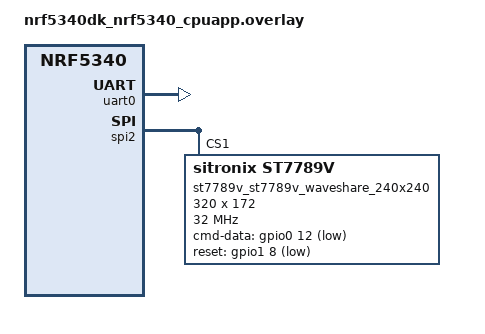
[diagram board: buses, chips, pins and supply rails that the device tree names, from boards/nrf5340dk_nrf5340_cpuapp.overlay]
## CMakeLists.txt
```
cmake_minimum_required(VERSION 3.20.0)

find_package(Zephyr REQUIRED HINTS $ENV{ZEPHYR_BASE})
project(lvgl)

zephyr_include_directories(include)
target_include_directories(app PRIVATE include)

FILE(GLOB app_sources src/*.c src/*.cpp)
target_sources(app PRIVATE ${app_sources})
```

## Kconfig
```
# Copyright (c) 2023 Nordic Semiconductor ASA
# SPDX-License-Identifier: Apache-2.0

menuconfig DISPLAY_CUSTOM
    bool "Custom display driver"

if DISPLAY_CUSTOM
module = DISPLAY_CUSTOM
module-str = DISPLAY_CUSTOM
source "${ZEPHYR_BASE}/subsys/logging/Kconfig.template.log_config"

endif 
```

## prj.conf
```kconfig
CONFIG_LV_Z_MEM_POOL_SIZE=5000
CONFIG_LV_CONF_MINIMAL=y

CONFIG_LVGL=y
CONFIG_LV_MEM_CUSTOM=y
CONFIG_LV_USE_LOG=n
CONFIG_LV_USE_CANVAS=y
CONFIG_LV_COLOR_DEPTH_16=y

CONFIG_LV_COLOR_16_SWAP=y

CONFIG_LV_Z_FULL_REFRESH=n
CONFIG_LV_Z_VDB_ALIGN=4
CONFIG_LV_Z_VDB_SIZE=1
CONFIG_LV_Z_FLUSH_THREAD=n
CONFIG_LV_Z_DOUBLE_VDB=n

CONFIG_LV_IMG_CACHE_DEF_SIZE=0

CONFIG_LV_Z_USE_FILESYSTEM=y

CONFIG_FS_LOG_LEVEL_INF=y

CONFIG_LV_FONT_DEFAULT_MONTSERRAT_48=n
CONFIG_LV_FONT_UNSCII_8=y
CONFIG_LV_FONT_UNSCII_16=y

CONFIG_CPP=y
CONFIG_MINIMAL_LIBCPP=n
CONFIG_GLIBCXX_LIBCPP=n
CONFIG_REQUIRES_FULL_LIBCPP=y
```

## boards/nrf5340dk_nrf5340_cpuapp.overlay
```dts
&uart0 {
	status = "okay";
};

/ {
	chosen {
		zephyr,display = &st7789v_st7789v_waveshare_240x240;
	};

	// mipi_dbi_st7789v_waveshare_240x240 {
	// 	compatible = "zephyr,mipi-dbi-spi";
	// 	spi-dev = <&spi4>;
	// 	dc-gpios = <&gpio0 12 GPIO_ACTIVE_HIGH>;	/* D9 */
	// 	reset-gpios = <&arduino_header 14 GPIO_ACTIVE_LOW>;	/* D8 */
	// 	write-only;
	// 	#address-cells = <1>;
	// 	#size-cells = <0>;
	// 	xfr-min-bits = <8>;

	// 	st7789v_st7789v_waveshare_240x240: st7789v@0 {
	// 		compatible = "sitronix,st7789v";
	// 		mipi-max-frequency = <32000000>;
	// 		reg = <0>;
	// 		width = <320>;
	// 		height = <172>;
	// 		x-offset = <0>;
	// 		y-offset = <34>;
	// 		vcom = <0x19>;
	// 		gctrl = <0x35>;
	// 		vrhs = <0x12>;
	// 		vdvs = <0x20>;
	// 		mdac = <0xA0>;
	// 		gamma = <0x01>;
	// 		colmod = <0x05>;
	// 		lcm = <0x2c>;
	// 		porch-param = [0c 0c 00 33 33];
	// 		cmd2en-param = [5a 69 02 01];
	// 		pwctrl1-param = [a4 a1];
	// 		pvgam-param = [D0 04 0D 11 13 2B 3F 54 4C 18 0D 0B 1F 23];
	// 		nvgam-param = [D0 04 0C 11 13 2C 3F 44 51 2F 1F 1F 20 23];
	// 		ram-param = [00 F0];
	// 		rgb-param = [CD 08 14];
	// 		mipi-mode = "MIPI_DBI_MODE_SPI_4WIRE";
	// 	};
	// };
};

&spi2 {
	status = "okay";
	max-frequency = <32000000>;
	cs-gpios += <&gpio0 11 GPIO_ACTIVE_LOW>;	/* D10 */

	st7789v_st7789v_waveshare_240x240: st7789v@0 {
		compatible = "sitronix,st7789v";
		spi-max-frequency = <32000000>;
		reg = <1>;
		cmd-data-gpios = <&gpio0 12 GPIO_ACTIVE_LOW>;	/* D9 */
		reset-gpios = <&gpio1 8 GPIO_ACTIVE_LOW>;	/* D8 */
		width = <320>;
		height = <172>;
		x-offset = <0>;
		y-offset = <34>;
		vcom = <0x19>;
		gctrl = <0x35>;
		vrhs = <0x12>;
		vdvs = <0x20>;
		mdac = <0xA0>;
		gamma = <0x01>;
		colmod = <0x05>;
		lcm = <0x2c>;
		porch-param = [0c 0c 00 33 33];
		cmd2en-param = [5a 69 02 01];
		pwctrl1-param = [a4 a1];
		pvgam-param = [D0 04 0D 11 13 2B 3F 54 4C 18 0D 0B 1F 23];
		nvgam-param = [D0 04 0C 11 13 2C 3F 44 51 2F 1F 1F 20 23];
		ram-param = [00 F0];
		rgb-param = [CD 08 14];
	};
};

&gpio_fwd {
	compatible = "nordic,nrf-gpio-forwarder";
	status = "okay";
	uart {
		gpios = <&gpio1 1 0>, <&gpio1 0 0>, <&gpio1 3 0>, <&gpio0 10 0>;
	};
};
```

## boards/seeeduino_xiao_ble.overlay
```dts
/ {
	chosen {
		zephyr,display = &st7789v_st7789v_waveshare_240x240;
	};
};

&spi3 {
    st7789v_st7789v_waveshare_240x240: st7789v@0 {
		compatible = "sitronix,st7789v";
		spi-max-frequency = <32000000>;
		reg = <1>;
		cmd-data-gpios = <&gpio0 2 GPIO_ACTIVE_LOW>;	/* D9 */
		width = <320>;
		height = <172>;
		x-offset = <0>;
		y-offset = <34>;
		vcom = <0x19>;
		gctrl = <0x35>;
		vrhs = <0x12>;
		vdvs = <0x20>;
		mdac = <0xA0>;
		gamma = <0x01>;
		colmod = <0x05>;
		lcm = <0x2c>;
		porch-param = [0c 0c 00 33 33];
		cmd2en-param = [5a 69 02 01];
		pwctrl1-param = [a4 a1];
		pvgam-param = [D0 04 0D 11 13 2B 3F 54 4C 18 0D 0B 1F 23];
		nvgam-param = [D0 04 0C 11 13 2C 3F 44 51 2F 1F 1F 20 23];
		ram-param = [00 F0];
		rgb-param = [CD 08 14];
	};
};
```

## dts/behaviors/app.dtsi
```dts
/*
 * Copyright (c) 2020 The ZMK Contributors
 *
 * SPDX-License-Identifier: MIT
 */

#include <dt-bindings/zmk/behaviors.h>
#include <dt-bindings/app_keys.h>
#include <dt-bindings/zmk/rgb.h>

/ {
    behaviors {
        app: app {
            compatible = "zmk,behavior-app";
            #binding-cells = <1>;
            display-name = "App Key";
            bindings
                = <&rgb_ug RGB_BRI>
                , <&rgb_ug RGB_BRD>
                ;
        };

        app_encoder: app_encoder {
            compatible = "zmk,behavior-sensor-rotate";
            #sensor-binding-cells = <0>;
            bindings = <&app APP_INC>, <&app APP_DEC>;
        };
    };

    macros {
        app_macro: app_macro {
            compatible = "zmk,behavior-macro-two-param";
            #binding-cells = <2>;
            bindings
                = <&macro_param_1to1>
                , <&app MACRO_PLACEHOLDER>
                , <&macro_param_2to1>
                , <&to MACRO_PLACEHOLDER>
                ;
        };
    };
};
```

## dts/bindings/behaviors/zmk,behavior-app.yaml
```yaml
description: App Behavior

compatible: "zmk,behavior-app"

include: one_param.yaml

properties:
  bindings:
      type: phandle-array
      required: true
  placeholder:
    type: boolean
    required: false
```

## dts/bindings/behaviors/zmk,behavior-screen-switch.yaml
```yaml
description: Screen Switch Behavior

compatible: "zmk,behavior-screen-switch"

include: zero_param.yaml
```

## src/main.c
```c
/*
 * Copyright (c) 2018 Jan Van Winkel <jan.van_winkel@dxplore.eu>
 *
 * SPDX-License-Identifier: Apache-2.0
 */

#include <zephyr/device.h>
#include <zephyr/devicetree.h>
#include <zephyr/drivers/display.h>
#include <zephyr/drivers/gpio.h>
#include <lvgl.h>
#include <stdio.h>
#include <string.h>
#include <zephyr/kernel.h>
#include <lvgl_input_device.h>
#include <zephyr/logging/log.h>
#include <zephyr/fs/fs.h>
#include <malloc.h>
#include <zephyr/random/random.h>

LOG_MODULE_REGISTER(display_app);

#define LV_FS_FATFS_LETTER 'N'

#define DISPLAY_DEVICE DT_CHOSEN(zephyr_display)
const struct device *const display_dev = DEVICE_DT_GET(DISPLAY_DEVICE);

#define IMAGE_SPLITS 2
#define IMAGE_SIZE (320 * 172 * 2)
#define REFRESH_RATE 30
#define REFRESH_PERIOD (K_MSEC(1000 / REFRESH_RATE))

__attribute__ ((aligned (4))) uint8_t image_buffer1[IMAGE_SIZE / 2];
__attribute__ ((aligned (4))) uint8_t image_buffer2[IMAGE_SIZE / 2];

K_SEM_DEFINE(display_sema, 0, 1);
K_SEM_DEFINE(read1_sema, 1, 1);
K_SEM_DEFINE(read2_sema, 1, 1);
K_SEM_DEFINE(flush1_sema, 0, 1);
K_SEM_DEFINE(flush2_sema, 0, 1);


void timer_thread(){
	k_sem_give(&display_sema);
}

K_TIMER_DEFINE(display_timer, timer_thread, NULL);

lv_obj_t * canvas1;
lv_obj_t * canvas2;
lv_draw_rect_dsc_t rect_dsc;
lv_draw_rect_dsc_t fps_rect_dsc;
lv_draw_label_dsc_t label_dsc;
lv_draw_label_dsc_t fps_label_dsc;
uint8_t colors[3];

int16_t draw_pos = 0;

static lv_fs_res_t my_lvgl_close(struct _lv_fs_drv_t *drv, void *file)
{
	int err;

	err = fs_close((struct fs_file_t *)file);
	LV_MEM_CUSTOM_FREE(file);
	return err;
}


void canvas_init(){
	canvas1 = lv_canvas_create(lv_scr_act());
	canvas2 = lv_canvas_create(lv_scr_act());

	lv_canvas_set_buffer(canvas1, &image_buffer1, 320, 172 / 2, LV_IMG_CF_TRUE_COLOR);
	lv_canvas_set_buffer(canvas2, &image_buffer2, 320, 172 / 2, LV_IMG_CF_TRUE_COLOR);

	lv_draw_rect_dsc_init(&rect_dsc);
	rect_dsc.radius = 10;
	rect_dsc.bg_opa = LV_OPA_80;
	//rect_dsc.bg_grad.dir = LV_GRAD_DIR_HOR;
	//rect_dsc.bg_grad.stops[0].color = lv_palette_main(LV_PALETTE_RED);
	//rect_dsc.bg_grad.stops[1].color = lv_palette_main(LV_PALETTE_BLUE);
	rect_dsc.border_width = 2;
	rect_dsc.border_opa = LV_OPA_90;
	rect_dsc.border_color = lv_color_black();
	rect_dsc.shadow_width = 5;
	rect_dsc.shadow_ofs_x = 5;
	rect_dsc.shadow_ofs_y = 5;

	lv_draw_rect_dsc_init(&fps_rect_dsc);
	//rect_dsc.radius = 0;
	rect_dsc.bg_opa = LV_OPA_50;
	fps_rect_dsc.bg_color = lv_color_black();
	//rect_dsc.bg_grad.dir = LV_GRAD_DIR_HOR;
	//rect_dsc.bg_grad.stops[0].color = lv_palette_main(LV_PALETTE_RED);
	//rect_dsc.bg_grad.stops[1].color = lv_palette_main(LV_PALETTE_BLUE);
	fps_rect_dsc.border_width = 1;
	fps_rect_dsc.border_opa = LV_OPA_90;
	fps_rect_dsc.border_color = lv_color_white();

	lv_draw_label_dsc_init(&label_dsc);
	lv_draw_label_dsc_init(&fps_label_dsc);
	fps_label_dsc.font = &lv_font_unscii_8;
	fps_label_dsc.color = lv_color_white();
}

void canvas_update(){
	sys_rand_get(colors, 3);
	label_dsc.color = lv_color_make(colors[0], colors[1], colors[2]);

	draw_pos = (draw_pos + 2) % 172;
}

uint16_t fps = 0;

void canvas_draw(lv_obj_t* canvas, lv_coord_t y){
	
	LV_LOG_INFO("Drawing canvas");
	//lv_canvas_draw_rect(canvas, 20, draw_pos - y, 150, 70, &rect_dsc);
	//lv_canvas_draw_text(canvas, 40, draw_pos - y, 150, &label_dsc, "GAY");

	//lv_canvas_draw_rect(canvas, 0, 0 - y, 50, 50, &fps_rect_dsc);
	char buffer[10];
	snprintk(buffer, 10, "%02d FPS", fps % 100);
	lv_canvas_draw_text(canvas, 260, 160 - y, 1000, &fps_label_dsc, buffer);
	LV_LOG_INFO("Finished drawing canvas");
	
}

uint32_t last_frame_time = 0;

#define NUM_FRAMES 11

void read_thread(){
	lv_fs_file_t file;
	k_timer_start(&display_timer, REFRESH_PERIOD, REFRESH_PERIOD);

	struct display_buffer_descriptor display_desc;
	display_desc.buf_size = IMAGE_SIZE / 2;
	display_desc.width = 320;
	display_desc.height = 86;
	display_desc.pitch = 0;

	k_sleep(K_MSEC(1000));

	while(1){
		//k_sem_take(&read1_sema, K_FOREVER);
		canvas_update(0);
		load:
		k_sem_take(&display_sema, K_FOREVER);
		uint32_t frame_time = k_cycle_get_32();
		fps = 1000 / k_cyc_to_ms_floor32(frame_time - last_frame_time);
		LV_LOG_INFO("Current FPS = %d, Elapsed time = %d", fps, k_cyc_to_ms_floor32(frame_time - last_frame_time));
		last_frame_time = frame_time;
		char buffer[50];
		static int count = 0;
		if (count >= NUM_FRAMES)
		{
			count %= NUM_FRAMES;
		}
		snprintk(buffer, 50, "/NAND:/frame_%d.bin\0", count);
		LV_LOG_INFO("Loading frame %s", buffer);
		lv_res_t res = lv_fs_open(&file, buffer, LV_FS_MODE_RD);
		if (res != LV_FS_RES_OK){
			LV_LOG_ERROR("File %s failed to open", buffer);
			count = 0;
			goto load;
		}
		count++;
		file.drv->close_cb = my_lvgl_close;

		LV_LOG_INFO("Reading 1st half into buffer");
		int read_bytes;
		lv_fs_seek(&file, 4, LV_FS_SEEK_SET); // skip over random junk
		lv_fs_read(&file, image_buffer1, IMAGE_SIZE / 2, &read_bytes);
		if (read_bytes != IMAGE_SIZE / 2){
			LV_LOG_ERROR("Failed to read entire selection, only read %d bytes", read_bytes);
		}
		LV_LOG_INFO("Finished reading 1st half");

		canvas_draw(canvas1, 0);

		//display_write(display_dev, 0, 0, &display_desc, image_buffer1);
		
		k_sem_give(&flush1_sema);
		k_sem_take(&read2_sema, K_FOREVER);

		LV_LOG_INFO("Reading 2nd half into buffer");
		lv_fs_seek(&file, 4 + (IMAGE_SIZE / 2), LV_FS_SEEK_SET); // skip over random junk
		lv_fs_read(&file, image_buffer2, IMAGE_SIZE / 2, &read_bytes);
		if (read_bytes != IMAGE_SIZE / 2){
			LV_LOG_ERROR("Failed to read entire selection, only read %d bytes", read_bytes);
		}

		LV_LOG_INFO("Finished reading 2nd half");

		// The LVGL version that ZMK uses has a memory leak on file close.
		lv_fs_close(&file);

		//display_write(display_dev, 0, 86, &display_desc, image_buffer2);

		canvas_draw(canvas2, (lv_coord_t) 86);

		k_sem_give(&flush2_sema);
	}
}

void flush_thread(){
	struct display_buffer_descriptor display_desc;
	display_desc.buf_size = IMAGE_SIZE / 2;
	display_desc.width = 320;
	display_desc.height = 86;
	display_desc.pitch = 0;

	while (1){
		k_sem_take(&flush1_sema, K_FOREVER);

		LV_LOG_INFO("Flushing 1st half");
		display_write(display_dev, 0, 0, &display_desc, image_buffer1);
		LV_LOG_INFO("Finished flushing 1st half");

		k_sem_give(&read1_sema);
		k_sem_take(&flush2_sema, K_FOREVER);

		LV_LOG_INFO("Flushing 2nd half");
		display_write(display_dev, 0, 86, &display_desc, image_buffer2);
		LV_LOG_INFO("Finished flushing 2nd half");

		k_sem_give(&read2_sema);
	}
}

K_THREAD_DEFINE(reading_thread, 2048,
	read_thread, NULL, NULL, NULL,
	2, 0, 0);

K_THREAD_DEFINE(flushing_thread, 1024,
		flush_thread, NULL, NULL, NULL,
		2, 0, 0);


void my_log_cb(const char* buf){
	printk("%s\n", buf);
}

lv_obj_t * custom_anim_img;

void next_frame(){

	LV_LOG_INFO("Loading next frame");
	char buffer[50];
	static int count = 0;
	snprintk(buffer, 50, "/NAND:/frame_%d.bin\0", count);
	LV_LOG_INFO("Loading frame %s", buffer);

	// load entire file into buffer
	lv_fs_file_t f;
	lv_res_t res = lv_fs_open(&f, buffer, LV_FS_MODE_RD);
	if (res != LV_FS_RES_OK){
		LV_LOG_ERROR("File %s failed to open", buffer);
		if (count > 0){
			count = 0;
			next_frame();
			return;
		} else {
			return;
		}
	}
	count++;
	int read_bytes;
	lv_fs_seek(&f, 4, LV_FS_SEEK_SET); // skip over random junk
	lv_fs_read(&f, image_buffer1, IMAGE_SIZE, &read_bytes);
	if (read_bytes != IMAGE_SIZE){
		LV_LOG_ERROR("Failed to read entire file, only read %d bytes", read_bytes);
	}

	LV_LOG_INFO("read %d bytes", read_bytes);

	lv_fs_close(&f);

	LV_LOG_INFO("Finished loading frame");

	// draw it our selves :)
	struct display_buffer_descriptor display_desc;
	display_desc.buf_size = 110080;
	display_desc.width = 320;
	display_desc.height = 172;
	display_desc.pitch = 0;
	LV_LOG_INFO("Flushing frame to display");
	//display_write(display_dev, 0, 0, &display_desc, image_buffer);
	LV_LOG_INFO("Finished flushing");

	///lv_img_cache_invalidate_src(custom_anim_img);

	//lv_img_set_src(custom_anim_img, &custom_image);
	

	//k_sleep(K_MSEC(1000));
}


int display_thread(void)
{
	const struct device *display_dev;

	display_dev = DEVICE_DT_GET(DT_CHOSEN(zephyr_display));
	if (!device_is_ready(display_dev)) {
		LOG_ERR("Device not ready, aborting test");
		return 0;
	}

	//lv_log_register_print_cb(my_log_cb);

	k_sleep(K_MSEC(1000)); // let the flash disk settle

	display_blanking_off(display_dev);

	canvas_init();

	k_sleep(K_MSEC(1000)); // let the flash disk settle

	k_sem_give(&display_sema);

	return;

	while (1){
		next_frame();

		
	}
	return;

	
	
	while (1) {
		LV_LOG_INFO("Ticking LVGL task handler");
		lv_task_handler();
		LV_LOG_INFO("Finished Ticking");
		next_frame();
	}
}

K_THREAD_DEFINE(dsp_thread, 2048,
                display_thread, NULL, NULL, NULL,
                2, 0, 0);
```

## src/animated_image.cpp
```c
#include "animated_image.hpp"

#include "image.hpp"
#include <lvgl.h>
#include <zephyr/fs/fs.h>
#include <zephyr/logging/log.h>

#include <string>
#include <cstdint>

#include LV_MEM_CUSTOM_INCLUDE

LOG_MODULE_DECLARE(display_app);

namespace
{
   lv_fs_res_t my_lvgl_close(struct _lv_fs_drv_t* drv, void* file)
   {
      int err;

      err = fs_close((struct fs_file_t*)file);
      LV_MEM_CUSTOM_FREE(file);
      return err;
   }
}

AnimatedImage::AnimatedImage(lv_area_t coords, std::string prefix, std::string suffix, std::uint8_t numFrames)
    : Image(coords), counter(0), numFrames(numFrames), filePrefix(prefix), fileSuffix(suffix)
{
}

bool AnimatedImage::tick()
{
   // LOG_PRINTK("Ticking animation\n");
   // The LVGL version that ZMK uses has a memory leak on file close.
   if (file.file_d != nullptr)
   {
      lv_fs_close(&file);
   }

   std::string fileName = generateFileName();
   // LOG_PRINTK("Opening %s\n", fileName.c_str());
   lv_res_t res = lv_fs_open(&file, fileName.c_str(), LV_FS_MODE_RD);
   if (res != LV_FS_RES_OK)
   {
      LOG_ERR("File %s failed to open", fileName.c_str());
      counter = 0;
      return false;
   }
   counter = (counter + 1) % numFrames;
   file.drv->close_cb = my_lvgl_close;

   return true;
}
```

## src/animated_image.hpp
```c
#pragma once

#include "image.hpp"
#include <cstdint>
#include <lvgl.h>
#include <string>
#include <zephyr/fs/fs.h>

class AnimatedImage final : public Image
{
   private:
   std::uint32_t counter = 0;
   std::uint16_t numFrames = 0;
   std::string filePrefix{};
   std::string fileSuffix{};

   std::string generateFileName()
   {
      return filePrefix + std::to_string(counter) + fileSuffix;
   }

   public:
   AnimatedImage(lv_area_t coords, std::string prefix, std::string suffix, std::uint8_t numFrames);

   bool tick() override;
};
```

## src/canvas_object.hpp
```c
#pragma once

#include "mini_canvas.hpp"
#include "misc/lv_area.h"
#include <lvgl.h>

class CanvasObject
{
   protected:
   lv_area_t coords{};

   public:
   CanvasObject(lv_area_t coords) : coords(coords)
   {
   }

   virtual bool tick() { return false; }
   virtual void draw(MiniCanvas* canvas) {}

   bool inBounds(MiniCanvas* canvas)
   {
      return (this->coords.x1 >= canvas->img.obj.coords.x1) || (this->coords.y1 >= canvas->img.obj.coords.y1) ||
             (this->coords.x2 <= canvas->img.obj.coords.x2) || (this->coords.y2 <= canvas->img.obj.coords.y2);
   }

   void setPosition(lv_point_t newCoords)
   {
      coords.x2 = (coords.x2 - coords.x1) + newCoords.x;
      coords.y2 = (coords.y2 - coords.y1) + newCoords.y;
      coords.x1 = newCoords.x;
      coords.y1 = newCoords.y;
   }
};
```
